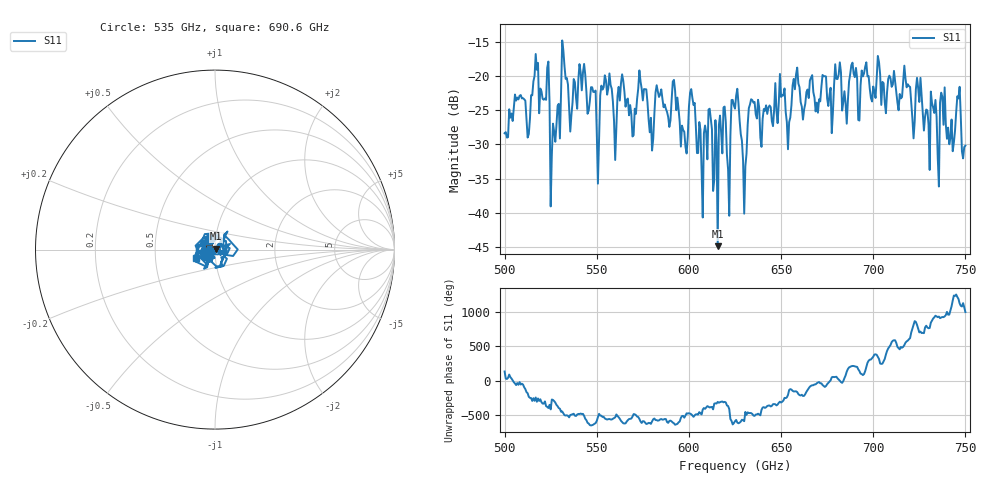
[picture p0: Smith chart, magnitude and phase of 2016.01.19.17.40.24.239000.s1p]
!Created with skrf (http://scikit-rf.org).
# GHz S RI R 50.0
!freq ReS11 ImS11
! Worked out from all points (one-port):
!   401 points, 500 GHz to 750 GHz, reference 50 ohm
!   lowest |S11| = -44.9 dB at 615.6 GHz (marker M1), VSWR 1.01, Z = 50.3 + j0.465 ohm
!   |S11| at or under -10 dB: start of sweep to end of sweep
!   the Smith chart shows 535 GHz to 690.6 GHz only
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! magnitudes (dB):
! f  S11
! 500 GHz  -28.4
! 513.1 GHz  -28.5
! 516.9 GHz  -16.7
! 523.1 GHz  -18.7
! 526.2 GHz  -26.9
! 531.2 GHz  -14.7
! 535.6 GHz  -28.1
! 541.9 GHz  -22.1
! 550.6 GHz  -35.8
! 553.8 GHz  -21.6
! 560 GHz  -32.3
! 562.5 GHz  -23.6
! 570 GHz  -28.6
! 574.4 GHz  -21.8
! 579.4 GHz  -26.1
! 583.1 GHz  -22.2
! 593.8 GHz  -23.1
! 615.6 GHz  -44.9
! 621.2 GHz  -33.7
! 625 GHz  -24.7
! 630 GHz  -40.2
! 633.8 GHz  -23.4
! 656.2 GHz  -21.3
! 687.5 GHz  -19.7
! 718.8 GHz  -21.2
! 734.4 GHz  -25.9
! 746.2 GHz  -23.2
! 750 GHz  -30.2
